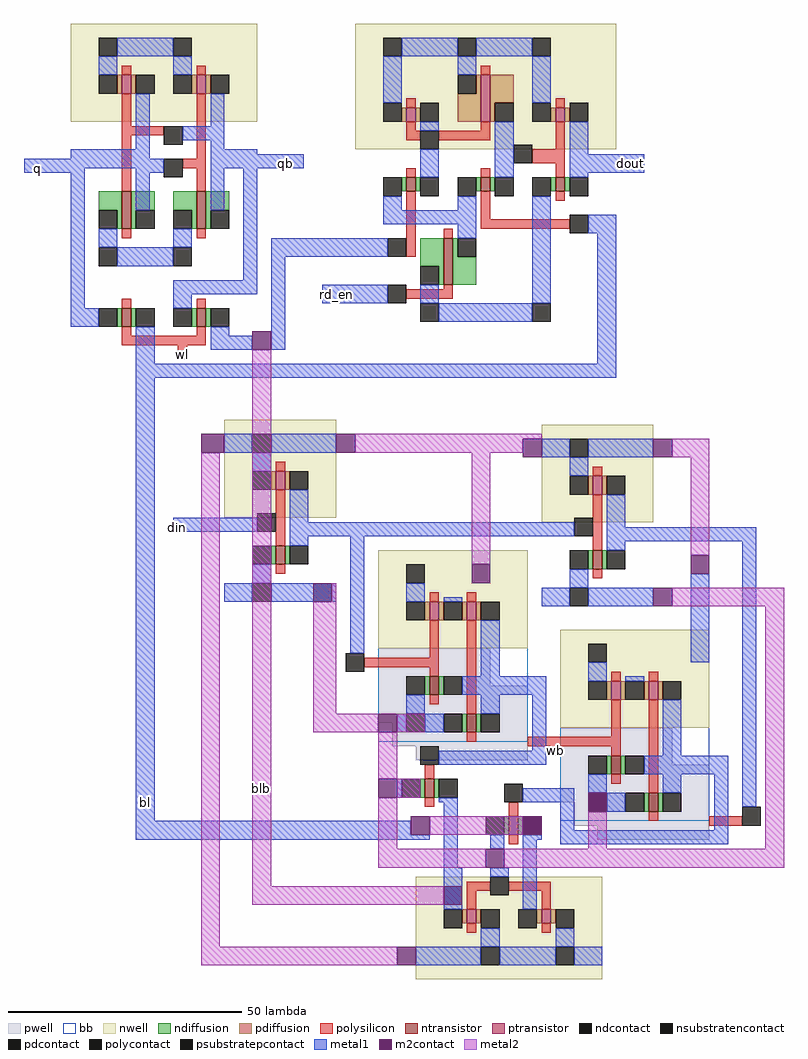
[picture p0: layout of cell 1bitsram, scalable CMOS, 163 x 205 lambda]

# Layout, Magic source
magic
tech scmos
<< polysilicon >>
rect 23 -2 25 0
rect 103 -87 105 -85
<< metal1 >>
rect -10 38 0 41
rect 40 39 50 42
rect 117 38 123 42
rect 43 20 61 24
rect 34 0 39 3
rect 43 0 46 20
rect 54 10 61 14
rect 14 -3 18 0
rect 113 -3 117 25
rect 14 -6 117 -3
rect 14 -101 18 -6
rect 22 -39 24 -36
rect 14 -104 73 -101
rect 80 -104 83 -100
rect 14 -105 77 -104
<< m2contact >>
rect 39 0 43 4
rect 73 -104 77 -100
rect 97 -104 101 -100
rect 80 -119 84 -115
<< metal2 >>
rect 39 -115 43 0
rect 77 -104 97 -100
rect 39 -119 80 -115
use cell6T  cell6T_0
transform 1 0 13 0 1 55
box -13 -55 27 15
use senseamp  senseamp_0
transform 1 0 77 0 1 50
box -16 -44 40 20
use writedriver  writedriver_0
transform 1 0 33 0 1 -54
box -9 -81 120 39
<< labels >>
rlabel metal2 41 -94 41 -94 1 blb
rlabel polysilicon 104 -86 104 -86 1 wb
rlabel metal1 57 12 57 12 1 rd_en
rlabel metal1 120 40 120 40 1 dout
rlabel polysilicon 24 -1 24 -1 1 wl
rlabel metal1 23 -38 23 -38 1 din
rlabel metal1 16 -97 16 -97 1 bl
rlabel metal1 -7 39 -7 39 3 q
rlabel metal1 46 40 46 40 1 qb
<< end >>

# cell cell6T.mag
magic
tech scmos
<< nwell >>
rect -13 -6 27 15
<< ntransistor >>
rect -2 -29 0 -21
rect 14 -29 16 -21
rect -2 -50 0 -46
rect 14 -50 16 -46
<< ptransistor >>
rect -2 0 0 4
rect 14 0 16 4
<< ndiffusion >>
rect -7 -25 -2 -21
rect -3 -29 -2 -25
rect 0 -25 5 -21
rect 0 -29 1 -25
rect 9 -25 14 -21
rect 13 -29 14 -25
rect 16 -25 21 -21
rect 16 -29 17 -25
rect -3 -50 -2 -46
rect 0 -50 1 -46
rect 13 -50 14 -46
rect 16 -50 17 -46
<< pdiffusion >>
rect -3 0 -2 4
rect 0 0 1 4
rect 13 0 14 4
rect 16 0 17 4
<< ndcontact >>
rect -7 -29 -3 -25
rect 1 -29 5 -25
rect 9 -29 13 -25
rect 17 -29 21 -25
rect -7 -50 -3 -46
rect 1 -50 5 -46
rect 9 -50 13 -46
rect 17 -50 21 -46
<< pdcontact >>
rect -7 0 -3 4
rect 1 0 5 4
rect 9 0 13 4
rect 17 0 21 4
<< psubstratepcontact >>
rect -7 -37 -3 -33
rect 9 -37 13 -33
<< nsubstratencontact >>
rect -7 8 -3 12
rect 9 8 13 12
<< polysilicon >>
rect -2 4 0 6
rect 14 4 16 6
rect -2 -7 0 0
rect -2 -9 7 -7
rect -2 -21 0 -9
rect 14 -14 16 0
rect 11 -16 16 -14
rect 14 -21 16 -16
rect -2 -31 0 -29
rect 14 -31 16 -29
rect -2 -46 0 -44
rect 14 -46 16 -44
rect -2 -52 0 -50
rect 14 -52 16 -50
rect -2 -54 16 -52
rect 10 -55 12 -54
<< polycontact >>
rect 7 -11 11 -7
rect 7 -18 11 -14
<< metal1 >>
rect -3 8 9 12
rect -7 4 -3 8
rect 9 4 13 8
rect 1 -12 4 0
rect 17 -7 20 0
rect 11 -10 20 -7
rect -13 -14 4 -12
rect 17 -12 20 -10
rect -13 -16 7 -14
rect -13 -46 -10 -16
rect 1 -17 7 -16
rect 1 -25 4 -17
rect 17 -16 27 -12
rect 17 -25 20 -16
rect -7 -33 -3 -29
rect 9 -33 13 -29
rect -3 -37 9 -33
rect 24 -40 27 -16
rect 9 -43 27 -40
rect 9 -46 13 -43
rect -13 -50 -7 -46
rect 1 -55 5 -50
rect 17 -55 21 -50
<< labels >>
rlabel metal1 3 10 3 10 5 vdd!
rlabel metal1 2 -14 2 -14 1 q
rlabel metal1 19 -14 19 -14 1 qb
rlabel metal1 3 -35 3 -35 1 gnd!
rlabel metal1 3 -51 3 -51 1 bl
rlabel metal1 19 -51 19 -51 1 blb
rlabel polysilicon 11 -53 11 -53 1 wl
<< end >>

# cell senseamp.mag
magic
tech scmos
<< nwell >>
rect -16 -7 40 20
<< ntransistor >>
rect -5 -16 -3 -13
rect 11 -16 13 -13
rect 27 -16 29 -13
rect 3 -36 5 -26
<< ptransistor >>
rect -5 -1 -3 2
rect 11 -1 13 9
rect 27 -1 29 2
<< ndiffusion >>
rect -6 -16 -5 -13
rect -3 -16 -2 -13
rect 10 -16 11 -13
rect 13 -16 14 -13
rect 26 -16 27 -13
rect 29 -16 30 -13
rect -2 -32 3 -26
rect 2 -36 3 -32
rect 5 -30 6 -26
rect 5 -36 10 -30
<< pdiffusion >>
rect 10 5 11 9
rect -6 -1 -5 2
rect -3 -1 -2 2
rect 6 -1 11 5
rect 13 3 18 9
rect 13 -1 14 3
rect 26 -1 27 2
rect 29 -1 30 2
<< ndcontact >>
rect -10 -17 -6 -13
rect -2 -17 2 -13
rect 6 -17 10 -13
rect 14 -17 18 -13
rect 22 -17 26 -13
rect 30 -17 34 -13
rect -2 -36 2 -32
rect 6 -30 10 -26
<< pdcontact >>
rect 6 5 10 9
rect -10 -1 -6 3
rect -2 -1 2 3
rect 14 -1 18 3
rect 22 -1 26 3
rect 30 -1 34 3
<< psubstratepcontact >>
rect -2 -44 2 -40
rect 22 -44 26 -40
<< nsubstratencontact >>
rect -10 13 -6 17
rect 6 13 10 17
rect 22 13 26 17
<< polysilicon >>
rect 11 9 13 11
rect -5 2 -3 4
rect 27 2 29 4
rect -5 -3 -3 -1
rect 11 -3 13 -1
rect -5 -5 -2 -3
rect 2 -5 13 -3
rect 27 -7 29 -1
rect 22 -10 29 -7
rect -5 -13 -3 -11
rect 11 -13 13 -11
rect 27 -13 29 -10
rect -5 -30 -3 -16
rect 11 -22 13 -16
rect 27 -18 29 -16
rect 11 -24 30 -22
rect 3 -26 5 -24
rect 3 -37 5 -36
rect -5 -39 5 -37
<< polycontact >>
rect -2 -7 2 -3
rect 18 -10 22 -6
rect -9 -30 -5 -26
rect 30 -25 34 -21
rect -9 -40 -5 -36
<< metal1 >>
rect -6 13 6 17
rect 10 13 22 17
rect -10 3 -6 13
rect 6 9 10 13
rect 22 3 26 13
rect -2 -3 2 -1
rect -2 -13 2 -7
rect 14 -13 18 -1
rect 30 -8 34 -1
rect 30 -12 40 -8
rect 30 -13 34 -12
rect -10 -20 -6 -17
rect 6 -20 10 -17
rect -10 -23 10 -20
rect 6 -26 10 -23
rect -16 -30 -9 -26
rect -16 -40 -9 -36
rect -2 -40 2 -36
rect 22 -40 26 -17
rect 34 -25 40 -21
rect 2 -44 22 -40
<< labels >>
rlabel metal1 2 15 2 15 5 vdd!
rlabel metal1 12 -42 12 -42 1 gnd!
rlabel metal1 -13 -28 -13 -28 3 blb
rlabel metal1 -13 -38 -13 -38 3 rd_en
rlabel metal1 37 -23 37 -23 7 bl
rlabel metal1 37 -10 37 -10 7 dout
rlabel metal1 0 -9 0 -9 1 2
rlabel metal1 16 -9 16 -9 1 out
rlabel metal1 8 -22 8 -22 1 3
<< end >>

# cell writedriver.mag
magic
tech scmos
<< ntransistor >>
rect 43 -42 45 -38
rect 61 -50 63 -46
<< ndiffusion >>
rect 42 -42 43 -38
rect 45 -42 46 -38
rect 60 -50 61 -46
rect 63 -50 64 -46
<< ndcontact >>
rect 38 -42 42 -38
rect 46 -42 50 -38
rect 56 -50 60 -46
rect 64 -50 68 -46
<< polysilicon >>
rect 30 -14 33 -12
rect 65 -31 72 -29
rect 43 -38 45 -35
rect 43 -44 45 -42
rect 61 -46 63 -43
rect 104 -48 111 -46
rect 61 -52 63 -50
<< polycontact >>
rect 26 -15 30 -11
rect 42 -35 46 -31
rect 60 -43 64 -39
rect 111 -48 115 -44
<< metal1 >>
rect -9 15 0 18
rect 24 14 68 17
rect 27 -11 30 14
rect 92 13 114 16
rect 100 -13 104 6
rect 65 -20 69 -16
rect 37 -28 39 -24
rect 66 -32 69 -20
rect 46 -35 69 -32
rect 104 -37 108 -33
rect 37 -42 38 -38
rect 46 -43 50 -42
rect 64 -43 75 -40
rect 47 -57 50 -43
rect 57 -53 60 -50
rect 64 -51 68 -50
rect 72 -49 75 -43
rect 105 -49 108 -37
rect 111 -44 114 13
rect 64 -57 67 -51
rect 72 -52 108 -49
<< m2contact >>
rect -5 32 0 36
rect 24 32 28 36
rect 64 31 68 35
rect 92 31 96 35
rect 19 0 23 4
rect 53 4 57 8
rect 100 6 104 10
rect 92 -1 96 3
rect 33 -28 37 -24
rect 33 -42 37 -38
rect 56 -57 60 -53
rect 78 -45 82 -41
rect 37 -78 41 -74
<< metal2 >>
rect 28 35 68 36
rect 28 32 64 35
rect -5 -74 -1 32
rect 53 8 57 32
rect 96 31 104 35
rect 100 10 104 31
rect 23 0 24 4
rect 19 -24 24 0
rect 96 -1 120 3
rect 19 -28 33 -24
rect 37 -28 43 -24
rect 33 -38 37 -28
rect 37 -42 42 -38
rect 33 -53 37 -42
rect 78 -53 82 -45
rect 116 -53 120 -1
rect 33 -57 56 -53
rect 60 -57 120 -53
rect -5 -78 37 -74
use inv  inv_0
transform 1 0 9 0 1 21
box -9 -21 15 18
use nor  nor_0
transform 1 0 46 0 1 -4
box -13 -27 19 15
use inv  inv_1
transform 1 0 77 0 1 20
box -9 -21 15 18
use nor  nor_1
transform 1 0 85 0 1 -21
box -13 -27 19 15
use precharge  precharge_0
transform -1 0 68 0 -1 -67
box -13 -10 27 14
<< labels >>
rlabel metal1 -8 16 -8 16 3 din
rlabel polysilicon 70 -30 70 -30 1 wb
rlabel metal1 48 -52 48 -52 1 blb
rlabel metal1 65 -52 65 -52 1 bl
<< end >>

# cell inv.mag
magic
tech scmos
<< nwell >>
rect -9 -3 15 18
<< ntransistor >>
rect 2 -13 4 -9
<< ptransistor >>
rect 2 3 4 7
<< ndiffusion >>
rect 1 -13 2 -9
rect 4 -13 5 -9
<< pdiffusion >>
rect 1 3 2 7
rect 4 3 5 7
<< ndcontact >>
rect -3 -13 1 -9
rect 5 -13 9 -9
<< pdcontact >>
rect -3 3 1 7
rect 5 3 9 7
<< psubstratepcontact >>
rect -3 -21 1 -17
<< nsubstratencontact >>
rect -3 11 1 15
<< polysilicon >>
rect 2 7 4 9
rect 2 -9 4 3
rect 2 -15 4 -13
<< polycontact >>
rect -2 -6 2 -2
<< metal1 >>
rect -9 11 -3 15
rect 1 11 15 15
rect -3 7 1 11
rect -9 -6 -2 -3
rect 5 -4 9 3
rect 5 -7 15 -4
rect 5 -9 9 -7
rect -3 -17 1 -13
rect -9 -21 -3 -17
rect 1 -21 15 -17
<< labels >>
rlabel metal1 4 13 4 13 5 vdd!
rlabel metal1 4 -19 4 -19 1 gnd!
rlabel metal1 12 -5 12 -5 7 out
rlabel metal1 -6 -4 -6 -4 3 in
<< end >>

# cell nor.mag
magic
tech scmos
<< nwell >>
rect -13 -6 19 15
<< pwell >>
rect -13 -14 11 -6
rect -13 -22 19 -14
rect -10 -27 19 -22
rect -5 -30 19 -27
<< ntransistor >>
rect -2 -16 0 -12
rect 6 -24 8 -20
<< ptransistor >>
rect -2 0 0 4
rect 6 0 8 4
<< ndiffusion >>
rect -3 -16 -2 -12
rect 0 -16 1 -12
rect 5 -24 6 -20
rect 8 -24 9 -20
<< pdiffusion >>
rect -3 0 -2 4
rect 0 0 1 4
rect 5 0 6 4
rect 8 0 9 4
<< ndcontact >>
rect -7 -16 -3 -12
rect 1 -16 5 -12
rect 1 -24 5 -20
rect 9 -24 13 -20
<< pdcontact >>
rect -7 0 -3 4
rect 1 0 5 4
rect 9 0 13 4
<< psubstratepcontact >>
rect -7 -24 -3 -20
<< nsubstratencontact >>
rect -7 8 -3 12
<< polysilicon >>
rect -2 4 0 6
rect 6 4 8 6
rect -2 -8 0 0
rect -13 -10 0 -8
rect -2 -12 0 -10
rect -2 -18 0 -16
rect 6 -20 8 0
rect 6 -26 8 -24
<< metal1 >>
rect -7 4 -3 8
rect 1 4 5 5
rect 9 -12 13 0
rect 5 -16 19 -12
rect -7 -20 -3 -16
rect 9 -20 13 -16
rect -3 -24 1 -20
<< bb >>
rect -13 -26 19 15
<< labels >>
rlabel polysilicon -1 -9 -1 -9 4 in2
rlabel polysilicon 7 -9 7 -9 4 in1
rlabel metal1 16 -14 16 -14 4 out
rlabel pdcontact 3 2 3 2 4 temp
rlabel metal1 -5 6 -5 6 1 vdd!
rlabel metal1 -1 -22 -1 -22 1 gnd!
<< end >>

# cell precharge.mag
magic
tech scmos
<< nwell >>
rect -13 -8 27 14
<< ptransistor >>
rect -2 -1 0 2
rect 14 -1 16 2
<< pdiffusion >>
rect -3 -1 -2 2
rect 0 -1 1 2
rect 13 -1 14 2
rect 16 -1 17 2
<< pdcontact >>
rect -7 -1 -3 3
rect 1 -1 5 3
rect 9 -1 13 3
rect 17 -1 21 3
<< nsubstratencontact >>
rect -7 7 -3 11
rect 9 7 13 11
<< polysilicon >>
rect -2 2 0 4
rect 14 2 16 4
rect -2 -5 0 -1
rect -2 -7 7 -5
rect 14 -5 16 -1
rect 11 -7 16 -5
<< polycontact >>
rect 7 -8 11 -4
<< metal1 >>
rect -13 7 -7 11
rect -3 7 9 11
rect 13 7 27 11
rect -7 3 -3 7
rect 9 3 13 7
rect 1 -10 4 -1
rect 7 -10 11 -8
rect 17 -10 21 -1
<< labels >>
rlabel metal1 5 9 5 9 5 vdd!
rlabel metal1 2 -9 2 -9 1 bl
rlabel metal1 19 -9 19 -9 1 blb
rlabel metal1 9 -9 9 -9 1 gnd!
<< end >>
